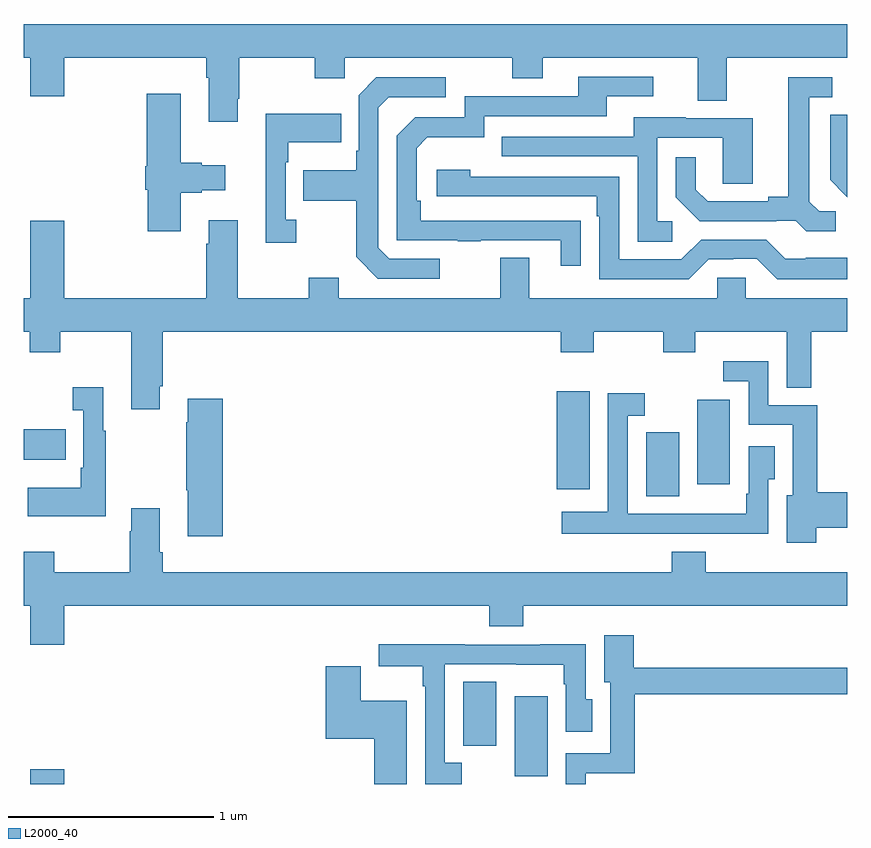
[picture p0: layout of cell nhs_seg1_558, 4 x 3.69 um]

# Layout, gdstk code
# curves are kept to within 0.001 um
import gdstk
lib = gdstk.Library(unit=1e-6, precision=1e-09)
def R(c, l, rs):  # rectangles x0, y0, x1, y1
    for r in rs: c.add(gdstk.rectangle(r[:2], r[2:], *l))
def P(c, l, *ps):  # polygons
    for p in ps: c.add(gdstk.Polygon(p, *l))
L2000_40 = (2000, 40)

nhs_seg1_558 = lib.new_cell('nhs_seg1_558')
R(nhs_seg1_558, L2000_40, [(141.032,552.199,141.196,552.271), (143.384,552.236,143.545,552.625), (143.135,552.384,143.296,552.695), (144.023,553.597,144.184,553.908), (143.588,553.632,143.749,554.107), (144.272,553.656,144.43,554.065), (141,553.775,141.203,553.923)])
P(nhs_seg1_558, L2000_40, [(142.039,555.529),(142.047,555.529),(142.047,555.728),(142.414,555.728),(142.414,555.629),(142.56,555.629),(142.56,555.728),(143.374,555.728),(143.374,555.629),(143.521,555.629),(143.521,555.728),(144.275,555.728),(144.275,555.52),(144.415,555.52),(144.415,555.728),(145,555.728),(145,555.892),(141,555.892),(141,555.728),(141.032,555.728),(141.032,555.54),(141.196,555.54),(141.196,555.728),(141.887,555.728),(141.887,555.632),(141.899,555.632),(141.899,555.417),(142.039,555.417)],
  [(143.705,554.936),(142.928,554.937),(142.928,555.034),(142.908,555.034),(142.908,555.288),(142.961,555.341),(143.238,555.341),(143.238,555.444),(143.833,555.444),(143.833,555.54),(144.058,555.54),(144.058,555.636),(143.693,555.636),(143.693,555.54),(143.142,555.54),(143.142,555.438),(142.902,555.438),(142.812,555.348),(142.812,554.841),(143.107,554.841),(143.107,554.836),(143.219,554.836),(143.219,554.841),(143.609,554.841),(143.609,554.718),(143.705,554.718)],
  [(143.02,554.751),(142.776,554.751),(142.722,554.805),(142.722,555.486),(142.773,555.537),(143.05,555.537),(143.05,555.633),(142.713,555.633),(142.626,555.546),(142.626,555.277),(142.614,555.277),(142.614,555.181),(142.357,555.181),(142.357,555.034),(142.614,555.034),(142.614,554.761),(142.719,554.655),(143.02,554.655)],
  [(144.946,554.982),(144.864,554.982),(144.817,555.029),(144.817,555.537),(144.928,555.537),(144.928,555.633),(144.713,555.633),(144.713,555.053),(144.617,555.053),(144.617,555.03),(144.322,555.03),(144.265,555.087),(144.265,555.244),(144.168,555.244),(144.168,555.05),(144.284,554.934),(144.656,554.934),(144.656,554.937),(144.75,554.937),(144.802,554.885),(144.946,554.885)],
  [(141.763,555.071),(141.863,555.071),(141.863,555.083),(141.979,555.083),(141.979,555.205),(141.863,555.205),(141.863,555.218),(141.763,555.218),(141.763,555.553),(141.596,555.553),(141.596,555.201),(141.59,555.201),(141.59,555.087),(141.601,555.087),(141.601,554.886),(141.763,554.886)],
  [(142.324,554.942),(142.272,554.942),(142.272,555.221),(142.285,555.221),(142.285,555.317),(142.541,555.317),(142.541,555.457),(142.175,555.457),(142.175,554.829),(142.324,554.829)],
  [(145,555.452),(144.918,555.452),(144.918,555.134),(144.991,555.061),(144.99,555.06),(145,555.05)],
  [(144.151,554.934),(144.078,554.934),(144.078,555.339),(144.396,555.339),(144.396,555.115),(144.541,555.115),(144.541,555.435),(144.217,555.435),(144.217,555.439),(143.963,555.439),(143.963,555.345),(143.323,555.345),(143.323,555.249),(143.982,555.249),(143.982,554.833),(144.151,554.833)],
  [(145,554.755),(144.799,554.755),(144.799,554.751),(144.699,554.751),(144.606,554.844),(144.291,554.844),(144.195,554.748),(143.892,554.748),(143.892,555.15),(143.168,555.15),(143.168,555.184),(143.007,555.184),(143.007,555.054),(143.783,555.054),(143.783,554.957),(143.796,554.957),(143.796,554.652),(144.231,554.652),(144.327,554.748),(144.446,554.748),(144.446,554.751),(144.561,554.751),(144.661,554.651),(145,554.651)],
  [(141.661,554.131),(141.674,554.131),(141.674,554.396),(143.609,554.396),(143.609,554.297),(143.769,554.297),(143.769,554.396),(144.106,554.396),(144.106,554.297),(144.261,554.297),(144.261,554.396),(144.707,554.396),(144.707,554.125),(144.826,554.125),(144.826,554.396),(145,554.396),(145,554.56),(144.507,554.56),(144.507,554.658),(144.369,554.658),(144.369,554.56),(143.455,554.56),(143.455,554.755),(143.315,554.755),(143.315,554.56),(142.531,554.56),(142.531,554.659),(142.384,554.659),(142.384,554.56),(142.039,554.56),(142.039,554.938),(141.899,554.938),(141.899,554.825),(141.887,554.825),(141.887,554.56),(141.196,554.56),(141.196,554.935),(141.032,554.935),(141.032,554.56),(141,554.56),(141,554.396),(141.029,554.396),(141.029,554.297),(141.177,554.297),(141.177,554.396),(141.521,554.396),(141.521,554.019),(141.661,554.019)],
  [(144.851,553.445),(145,553.445),(145,553.616),(144.856,553.616),(144.856,554.04),(144.618,554.04),(144.618,554.254),(144.399,554.254),(144.399,554.157),(144.522,554.157),(144.522,553.944),(144.737,553.944),(144.737,553.603),(144.707,553.603),(144.707,553.371),(144.851,553.371)],
  [(141.397,553.915),(141.385,553.915),(141.385,554.128),(141.237,554.128),(141.237,554.015),(141.288,554.015),(141.288,553.735),(141.276,553.735),(141.276,553.639),(141.019,553.639),(141.019,553.499),(141.397,553.499)],
  [(144.031,553.416),(144.397,553.416),(144.397,553.415),(144.618,553.415),(144.618,553.681),(144.649,553.681),(144.649,553.84),(144.522,553.84),(144.522,553.609),(144.51,553.609),(144.51,553.513),(144.28,553.513),(144.28,553.512),(143.934,553.512),(143.934,553.989),(144.016,553.989),(144.016,554.098),(143.838,554.098),(143.838,553.522),(143.613,553.522),(143.613,553.415),(144.031,553.415)],
  [(141.965,554.071),(141.797,554.071),(141.797,553.958),(141.79,553.958),(141.79,553.627),(141.797,553.627),(141.797,553.404),(141.965,553.404)],
  [(141.196,553.064),(143.261,553.064),(143.261,552.965),(143.426,552.965),(143.426,553.064),(145,553.064),(145,553.228),(144.314,553.228),(144.314,553.327),(144.149,553.327),(144.149,553.228),(141.674,553.228),(141.674,553.324),(141.661,553.324),(141.661,553.54),(141.521,553.54),(141.521,553.427),(141.514,553.427),(141.514,553.228),(141.147,553.228),(141.147,553.327),(141,553.327),(141,553.064),(141.032,553.064),(141.032,552.876),(141.196,552.876)],
  [(143.73,552.252),(143.968,552.252),(143.968,552.634),(145,552.634),(145,552.763),(143.963,552.763),(143.963,552.922),(143.819,552.922),(143.819,552.693),(143.849,552.693),(143.849,552.348),(143.634,552.348),(143.634,552.199),(143.73,552.199)],
  [(143.128,552.303),(143.046,552.303),(143.046,552.78),(143.392,552.78),(143.392,552.779),(143.622,552.779),(143.622,552.683),(143.634,552.683),(143.634,552.453),(143.761,552.453),(143.761,552.612),(143.73,552.612),(143.73,552.878),(143.509,552.878),(143.509,552.876),(143.143,552.876),(143.143,552.878),(142.725,552.878),(142.725,552.77),(142.938,552.77),(142.938,552.674),(142.95,552.674),(142.95,552.199),(143.128,552.199)],
  [(142.861,552.604),(142.636,552.604),(142.636,552.772),(142.466,552.772),(142.466,552.419),(142.703,552.419),(142.703,552.199),(142.861,552.199)])

lib.write_gds('nhs_seg1_558.gds')
